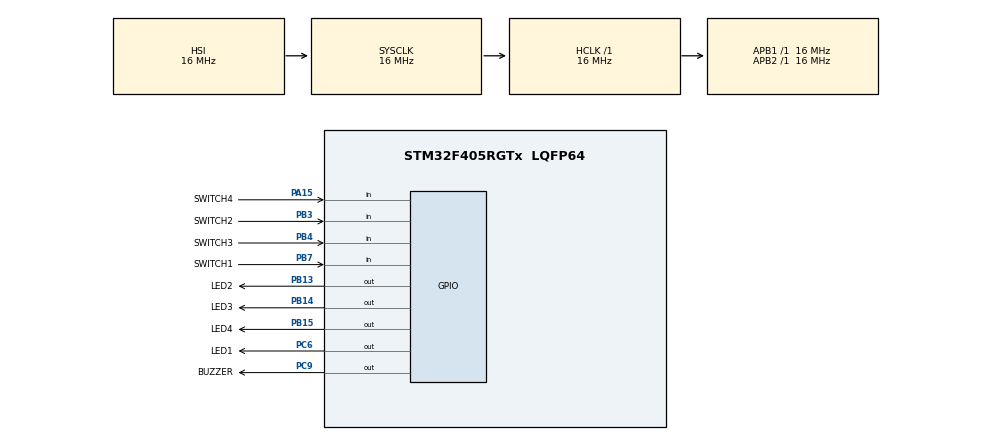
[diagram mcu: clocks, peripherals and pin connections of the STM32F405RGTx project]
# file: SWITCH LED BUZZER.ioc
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Mcu.Family=STM32F4
Mcu.Name=STM32F405RGTx
Mcu.Package=LQFP64
NVIC.PriorityGroup=NVIC_PRIORITYGROUP_4
PA13.Mode=Serial_Wire
PA13.Signal=SYS_JTMS-SWDIO
PA14.Mode=Serial_Wire
PA14.Signal=SYS_JTCK-SWCLK
PA15.GPIO_Label=SWITCH4
PA15.Signal=GPIO_Input
PB13.GPIO_Label=LED2
PB13.Signal=GPIO_Output
PB14.GPIO_Label=LED3
PB14.Signal=GPIO_Output
PB15.GPIO_Label=LED4
PB15.Signal=GPIO_Output
PB3.GPIO_Label=SWITCH2
PB3.Signal=GPIO_Input
PB4.GPIO_Label=SWITCH3
PB4.Signal=GPIO_Input
PB7.GPIO_Label=SWITCH1
PB7.Signal=GPIO_Input
PC14-OSC32_IN.Mode=LSE-External-Oscillator
PC14-OSC32_IN.Signal=RCC_OSC32_IN
PC15-OSC32_OUT.Mode=LSE-External-Oscillator
PC15-OSC32_OUT.Signal=RCC_OSC32_OUT
PC6.GPIO_Label=LED1
PC6.Signal=GPIO_Output
PC9.GPIO_Label=BUZZER
PC9.Signal=GPIO_Output
PH0-OSC_IN.Mode=HSE-External-Oscillator
PH0-OSC_IN.Signal=RCC_OSC_IN
PH1-OSC_OUT.Mode=HSE-External-Oscillator
PH1-OSC_OUT.Signal=RCC_OSC_OUT
ProjectManager.HeapSize=0x200
ProjectManager.StackSize=0x400
ProjectManager.TargetToolchain=STM32CubeIDE
RCC.AHBFreq_Value=16000000
RCC.APB1Freq_Value=16000000
RCC.APB2Freq_Value=16000000
RCC.CortexFreq_Value=16000000
RCC.HSE_VALUE=25000000
RCC.HSI_VALUE=16000000
RCC.SYSCLKFreq_VALUE=16000000
RCC.VCOOutputFreq_Value=192000000
board=custom

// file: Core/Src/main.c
/* USER CODE BEGIN Header */
/**
  ******************************************************************************
  * @file           : main.c
  * @brief          : Main program body
  ******************************************************************************
  * @attention
  *
  * Copyright (c) 2023 STMicroelectronics.
  * All rights reserved.
  *
  * This software is licensed under terms that can be found in the LICENSE file
  * in the root directory of this software component.
  * If no LICENSE file comes with this software, it is provided AS-IS.
  *
  ******************************************************************************
  */
/* USER CODE END Header */
#include "main.h"

void SystemClock_Config(void);
static void MX_GPIO_Init(void);

int main(void)
{

  /* MCU Configuration--------------------------------------------------------*/

  /* Reset of all peripherals, Initializes the Flash interface and the Systick. */
  HAL_Init();

  /* Configure the system clock */
  SystemClock_Config();

  /* Initialize all configured peripherals */
  MX_GPIO_Init();

  /* Infinite loop */
  /* USER CODE BEGIN WHILE */
  while (1)
  {

	  if(HAL_GPIO_ReadPin(GPIOB,SWITCH1_Pin)==0)
	  {
		      HAL_GPIO_WritePin(GPIOC,LED1_Pin,0);
		  	  HAL_Delay(200);
		  	  HAL_GPIO_WritePin(GPIOC,LED1_Pin,1);
		  	  HAL_Delay(200);
		  	  HAL_GPIO_WritePin(GPIOB,LED2_Pin,0);
		  	  HAL_Delay(200);
		  	  HAL_GPIO_WritePin(GPIOB,LED2_Pin,1);
		  	  HAL_Delay(200);
		  	  HAL_GPIO_WritePin(GPIOB,LED3_Pin,0);
		  	  HAL_Delay(200);
		  	  HAL_GPIO_WritePin(GPIOB,LED3_Pin,1);
		  	  HAL_Delay(200);

	  }

	  else if (HAL_GPIO_ReadPin(GPIOB,SWITCH2_Pin)==0)
	  {
		  HAL_GPIO_WritePin(GPIOC,BUZZER_Pin,1);

		  HAL_Delay(200);
		  HAL_GPIO_WritePin(GPIOC,BUZZER_Pin,0);
		  HAL_Delay(200);
	  }
	  else if (HAL_GPIO_ReadPin(GPIOB,SWITCH3_Pin)==0)
	  {
		  HAL_GPIO_TogglePin(GPIOB,LED4_Pin);
	  }
    /* USER CODE END WHILE */

  }
}

void SystemClock_Config(void)
{
  RCC_OscInitTypeDef RCC_OscInitStruct = {0};
  RCC_ClkInitTypeDef RCC_ClkInitStruct = {0};

  /** Configure the main internal regulator output voltage
  */
  __HAL_RCC_PWR_CLK_ENABLE();
  __HAL_PWR_VOLTAGESCALING_CONFIG(PWR_REGULATOR_VOLTAGE_SCALE1);

  /** Initializes the RCC Oscillators according to the specified parameters
  * in the RCC_OscInitTypeDef structure.
  */
  RCC_OscInitStruct.OscillatorType = RCC_OSCILLATORTYPE_HSI;
  RCC_OscInitStruct.HSIState = RCC_HSI_ON;
  RCC_OscInitStruct.HSICalibrationValue = RCC_HSICALIBRATION_DEFAULT;
  RCC_OscInitStruct.PLL.PLLState = RCC_PLL_NONE;
  if (HAL_RCC_OscConfig(&RCC_OscInitStruct) != HAL_OK)
  {
    Error_Handler();
  }

  /** Initializes the CPU, AHB and APB buses clocks
  */
  RCC_ClkInitStruct.ClockType = RCC_CLOCKTYPE_HCLK|RCC_CLOCKTYPE_SYSCLK
                              |RCC_CLOCKTYPE_PCLK1|RCC_CLOCKTYPE_PCLK2;
  RCC_ClkInitStruct.SYSCLKSource = RCC_SYSCLKSOURCE_HSI;
  RCC_ClkInitStruct.AHBCLKDivider = RCC_SYSCLK_DIV1;
  RCC_ClkInitStruct.APB1CLKDivider = RCC_HCLK_DIV1;
  RCC_ClkInitStruct.APB2CLKDivider = RCC_HCLK_DIV1;

  if (HAL_RCC_ClockConfig(&RCC_ClkInitStruct, FLASH_LATENCY_0) != HAL_OK)
  {
    Error_Handler();
  }
}

static void MX_GPIO_Init(void)
{
  GPIO_InitTypeDef GPIO_InitStruct = {0};

  /* GPIO Ports Clock Enable */
  __HAL_RCC_GPIOC_CLK_ENABLE();
  __HAL_RCC_GPIOH_CLK_ENABLE();
  __HAL_RCC_GPIOB_CLK_ENABLE();
  __HAL_RCC_GPIOA_CLK_ENABLE();

  /*Configure GPIO pin Output Level */
  HAL_GPIO_WritePin(GPIOB, LED2_Pin|LED3_Pin|LED4_Pin, GPIO_PIN_RESET);

  /*Configure GPIO pin Output Level */
  HAL_GPIO_WritePin(GPIOC, LED1_Pin|BUZZER_Pin, GPIO_PIN_RESET);

  /*Configure GPIO pins : LED2_Pin LED3_Pin LED4_Pin */
  GPIO_InitStruct.Pin = LED2_Pin|LED3_Pin|LED4_Pin;
  GPIO_InitStruct.Mode = GPIO_MODE_OUTPUT_PP;
  GPIO_InitStruct.Pull = GPIO_NOPULL;
  GPIO_InitStruct.Speed = GPIO_SPEED_FREQ_LOW;
  HAL_GPIO_Init(GPIOB, &GPIO_InitStruct);

  /*Configure GPIO pins : LED1_Pin BUZZER_Pin */
  GPIO_InitStruct.Pin = LED1_Pin|BUZZER_Pin;
  GPIO_InitStruct.Mode = GPIO_MODE_OUTPUT_PP;
  GPIO_InitStruct.Pull = GPIO_NOPULL;
  GPIO_InitStruct.Speed = GPIO_SPEED_FREQ_LOW;
  HAL_GPIO_Init(GPIOC, &GPIO_InitStruct);

  /*Configure GPIO pin : SWITCH4_Pin */
  GPIO_InitStruct.Pin = SWITCH4_Pin;
  GPIO_InitStruct.Mode = GPIO_MODE_INPUT;
  GPIO_InitStruct.Pull = GPIO_NOPULL;
  HAL_GPIO_Init(SWITCH4_GPIO_Port, &GPIO_InitStruct);

  /*Configure GPIO pins : SWITCH2_Pin SWITCH3_Pin SWITCH1_Pin */
  GPIO_InitStruct.Pin = SWITCH2_Pin|SWITCH3_Pin|SWITCH1_Pin;
  GPIO_InitStruct.Mode = GPIO_MODE_INPUT;
  GPIO_InitStruct.Pull = GPIO_NOPULL;
  HAL_GPIO_Init(GPIOB, &GPIO_InitStruct);

}

void Error_Handler(void)
{
  __disable_irq();
  while (1)
  {
  }
}
